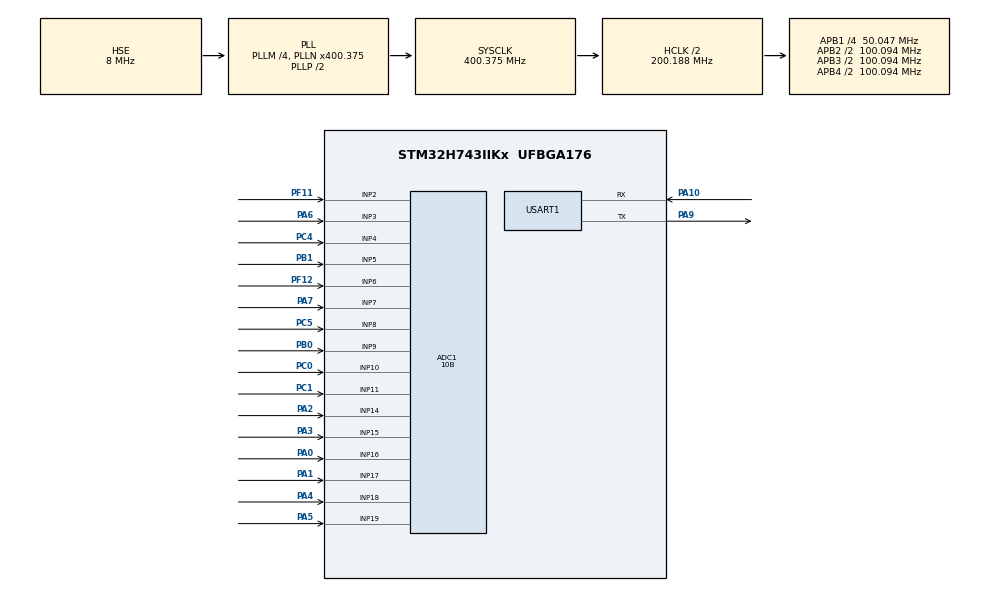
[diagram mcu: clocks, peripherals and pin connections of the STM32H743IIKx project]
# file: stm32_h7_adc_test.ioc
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ADC1.Channel-0\#ChannelRegularConversion=ADC_CHANNEL_2
ADC1.Channel-1\#ChannelRegularConversion=ADC_CHANNEL_3
ADC1.Channel-10\#ChannelRegularConversion=ADC_CHANNEL_14
ADC1.Channel-11\#ChannelRegularConversion=ADC_CHANNEL_15
ADC1.Channel-12\#ChannelRegularConversion=ADC_CHANNEL_16
ADC1.Channel-13\#ChannelRegularConversion=ADC_CHANNEL_17
ADC1.Channel-14\#ChannelRegularConversion=ADC_CHANNEL_18
ADC1.Channel-15\#ChannelRegularConversion=ADC_CHANNEL_19
ADC1.Channel-2\#ChannelRegularConversion=ADC_CHANNEL_4
ADC1.Channel-3\#ChannelRegularConversion=ADC_CHANNEL_5
ADC1.Channel-4\#ChannelRegularConversion=ADC_CHANNEL_6
ADC1.Channel-5\#ChannelRegularConversion=ADC_CHANNEL_7
ADC1.Channel-6\#ChannelRegularConversion=ADC_CHANNEL_8
ADC1.Channel-7\#ChannelRegularConversion=ADC_CHANNEL_9
ADC1.Channel-8\#ChannelRegularConversion=ADC_CHANNEL_10
ADC1.Channel-9\#ChannelRegularConversion=ADC_CHANNEL_11
ADC1.ContinuousConvMode=ENABLE
ADC1.ConversionDataManagement=ADC_CONVERSIONDATA_DMA_CIRCULAR
ADC1.NbrOfConversion=16
ADC1.NbrOfConversionFlag=1
ADC1.OffsetNumber-0\#ChannelRegularConversion=ADC_OFFSET_NONE
ADC1.OffsetNumber-1\#ChannelRegularConversion=ADC_OFFSET_NONE
ADC1.OffsetNumber-10\#ChannelRegularConversion=ADC_OFFSET_NONE
ADC1.OffsetNumber-11\#ChannelRegularConversion=ADC_OFFSET_NONE
ADC1.OffsetNumber-12\#ChannelRegularConversion=ADC_OFFSET_NONE
ADC1.OffsetNumber-13\#ChannelRegularConversion=ADC_OFFSET_NONE
ADC1.OffsetNumber-14\#ChannelRegularConversion=ADC_OFFSET_NONE
ADC1.OffsetNumber-15\#ChannelRegularConversion=ADC_OFFSET_NONE
ADC1.OffsetNumber-2\#ChannelRegularConversion=ADC_OFFSET_NONE
ADC1.OffsetNumber-3\#ChannelRegularConversion=ADC_OFFSET_NONE
ADC1.OffsetNumber-4\#ChannelRegularConversion=ADC_OFFSET_NONE
ADC1.OffsetNumber-5\#ChannelRegularConversion=ADC_OFFSET_NONE
ADC1.OffsetNumber-6\#ChannelRegularConversion=ADC_OFFSET_NONE
ADC1.OffsetNumber-7\#ChannelRegularConversion=ADC_OFFSET_NONE
ADC1.OffsetNumber-8\#ChannelRegularConversion=ADC_OFFSET_NONE
ADC1.OffsetNumber-9\#ChannelRegularConversion=ADC_OFFSET_NONE
ADC1.OffsetSignedSaturation-0\#ChannelRegularConversion=DISABLE
ADC1.Rank-0\#ChannelRegularConversion=1
ADC1.Rank-1\#ChannelRegularConversion=2
ADC1.Rank-10\#ChannelRegularConversion=11
ADC1.Rank-11\#ChannelRegularConversion=12
ADC1.Rank-12\#ChannelRegularConversion=13
ADC1.Rank-13\#ChannelRegularConversion=14
ADC1.Rank-14\#ChannelRegularConversion=15
ADC1.Rank-15\#ChannelRegularConversion=16
ADC1.Rank-2\#ChannelRegularConversion=3
ADC1.Rank-3\#ChannelRegularConversion=4
ADC1.Rank-4\#ChannelRegularConversion=5
ADC1.Rank-5\#ChannelRegularConversion=6
ADC1.Rank-6\#ChannelRegularConversion=7
ADC1.Rank-7\#ChannelRegularConversion=8
ADC1.Rank-8\#ChannelRegularConversion=9
ADC1.Rank-9\#ChannelRegularConversion=10
ADC1.Resolution=ADC_RESOLUTION_10B
ADC1.SamplingTime-0\#ChannelRegularConversion=ADC_SAMPLETIME_810CYCLES_5
ADC1.SamplingTime-1\#ChannelRegularConversion=ADC_SAMPLETIME_810CYCLES_5
ADC1.SamplingTime-10\#ChannelRegularConversion=ADC_SAMPLETIME_810CYCLES_5
ADC1.SamplingTime-11\#ChannelRegularConversion=ADC_SAMPLETIME_810CYCLES_5
ADC1.SamplingTime-12\#ChannelRegularConversion=ADC_SAMPLETIME_810CYCLES_5
ADC1.SamplingTime-13\#ChannelRegularConversion=ADC_SAMPLETIME_810CYCLES_5
ADC1.SamplingTime-14\#ChannelRegularConversion=ADC_SAMPLETIME_810CYCLES_5
ADC1.SamplingTime-15\#ChannelRegularConversion=ADC_SAMPLETIME_810CYCLES_5
ADC1.SamplingTime-2\#ChannelRegularConversion=ADC_SAMPLETIME_810CYCLES_5
ADC1.SamplingTime-3\#ChannelRegularConversion=ADC_SAMPLETIME_810CYCLES_5
ADC1.SamplingTime-4\#ChannelRegularConversion=ADC_SAMPLETIME_810CYCLES_5
ADC1.SamplingTime-5\#ChannelRegularConversion=ADC_SAMPLETIME_810CYCLES_5
ADC1.SamplingTime-6\#ChannelRegularConversion=ADC_SAMPLETIME_810CYCLES_5
ADC1.SamplingTime-7\#ChannelRegularConversion=ADC_SAMPLETIME_810CYCLES_5
ADC1.SamplingTime-8\#ChannelRegularConversion=ADC_SAMPLETIME_810CYCLES_5
ADC1.SamplingTime-9\#ChannelRegularConversion=ADC_SAMPLETIME_810CYCLES_5
ADC1.master=1
Dma.ADC1.0.Direction=DMA_PERIPH_TO_MEMORY
Dma.ADC1.0.EventEnable=DISABLE
Dma.ADC1.0.FIFOMode=DMA_FIFOMODE_DISABLE
Dma.ADC1.0.Instance=DMA1_Stream0
Dma.ADC1.0.MemDataAlignment=DMA_MDATAALIGN_WORD
Dma.ADC1.0.MemInc=DMA_MINC_ENABLE
Dma.ADC1.0.Mode=DMA_CIRCULAR
Dma.ADC1.0.PeriphDataAlignment=DMA_PDATAALIGN_WORD
Dma.ADC1.0.PeriphInc=DMA_PINC_DISABLE
Dma.ADC1.0.Polarity=HAL_DMAMUX_REQ_GEN_RISING
Dma.ADC1.0.Priority=DMA_PRIORITY_LOW
Dma.ADC1.0.RequestNumber=1
Dma.ADC1.0.SignalID=NONE
Dma.ADC1.0.SyncEnable=DISABLE
Dma.ADC1.0.SyncPolarity=HAL_DMAMUX_SYNC_NO_EVENT
Dma.ADC1.0.SyncRequestNumber=1
Dma.ADC1.0.SyncSignalID=NONE
Dma.Request0=ADC1
Mcu.Family=STM32H7
Mcu.Name=STM32H743IIKx
Mcu.Package=UFBGA176
NVIC.DMA1_Stream0_IRQn=true\:0\:0\:false\:false\:true\:false\:true
NVIC.PriorityGroup=NVIC_PRIORITYGROUP_4
PA0.Mode=IN16-Single-Ended
PA0.Signal=ADC1_INP16
PA1.Mode=IN17-Single-Ended
PA1.Signal=ADC1_INP17
PA10.Mode=Asynchronous
PA10.Signal=USART1_RX
PA2.Signal=ADCx_INP14
PA3.Signal=ADCx_INP15
PA4.Signal=ADCx_INP18
PA5.Signal=ADCx_INP19
PA6.Signal=ADCx_INP3
PA7.Signal=ADCx_INP7
PA9.Mode=Asynchronous
PA9.Signal=USART1_TX
PB0.Signal=ADCx_INP9
PB1.Signal=ADCx_INP5
PC0.Signal=ADCx_INP10
PC1.Signal=ADCx_INP11
PC4.Signal=ADCx_INP4
PC5.Signal=ADCx_INP8
PF11.Mode=IN2-Single-Ended
PF11.Signal=ADC1_INP2
PF12.Mode=IN6-Single-Ended
PF12.Signal=ADC1_INP6
PH0-OSC_IN\ (PH0).Mode=HSE-External-Oscillator
PH0-OSC_IN\ (PH0).Signal=RCC_OSC_IN
PH1-OSC_OUT\ (PH1).Mode=HSE-External-Oscillator
PH1-OSC_OUT\ (PH1).Signal=RCC_OSC_OUT
ProjectManager.HeapSize=0x200
ProjectManager.StackSize=0x400
ProjectManager.TargetToolchain=STM32CubeIDE
RCC.ADCFreq_Value=100000000
RCC.APB1Freq_Value=50046875
RCC.APB2Freq_Value=100093750
RCC.APB3Freq_Value=100093750
RCC.APB4Freq_Value=100093750
RCC.CortexFreq_Value=400375000
RCC.D1PPRE=RCC_APB3_DIV2
RCC.D2PPRE1=RCC_APB1_DIV4
RCC.D2PPRE2=RCC_APB2_DIV2
RCC.D3PPRE=RCC_APB4_DIV2
RCC.DIVM1=4
RCC.DIVM2=4
RCC.DIVM3=4
RCC.DIVN1=400
RCC.DIVN2=100
RCC.DIVN3=44
RCC.DIVR3=4
RCC.HCLKFreq_Value=200187500
RCC.HPRE=RCC_HCLK_DIV2
RCC.HSE_VALUE=8000000
RCC.PLLFRACN=3072
RCC.PLLSourceVirtual=RCC_PLLSOURCE_HSE
RCC.SYSCLKFreq_VALUE=400375000
RCC.SYSCLKSource=RCC_SYSCLKSOURCE_PLLCLK
RCC.USBFreq_Value=400375000
SH.ADCx_INP10.0=ADC1_INP10,IN10-Single-Ended
SH.ADCx_INP11.0=ADC1_INP11,IN11-Single-Ended
SH.ADCx_INP14.0=ADC1_INP14,IN14-Single-Ended
SH.ADCx_INP15.0=ADC1_INP15,IN15-Single-Ended
SH.ADCx_INP18.0=ADC1_INP18,IN18-Single-Ended
SH.ADCx_INP19.0=ADC1_INP19,IN19-Single-Ended
SH.ADCx_INP3.0=ADC1_INP3,IN3-Single-Ended
SH.ADCx_INP4.0=ADC1_INP4,IN4-Single-Ended
SH.ADCx_INP5.0=ADC1_INP5,IN5-Single-Ended
SH.ADCx_INP7.0=ADC1_INP7,IN7-Single-Ended
SH.ADCx_INP8.0=ADC1_INP8,IN8-Single-Ended
SH.ADCx_INP9.0=ADC1_INP9,IN9-Single-Ended
USART1.VirtualMode-Asynchronous=VM_ASYNC
board=custom

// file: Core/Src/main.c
/* USER CODE BEGIN Header */
/**
  ******************************************************************************
  * @file           : main.c
  * @brief          : Main program body
  ******************************************************************************
  * @attention
  *
  * <h2><center>&copy; Copyright (c) 2021 STMicroelectronics.
  * All rights reserved.</center></h2>
  *
  * This software component is licensed by ST under BSD 3-Clause license,
  * the "License"; You may not use this file except in compliance with the
  * License. You may obtain a copy of the License at:
  *                        opensource.org/licenses/BSD-3-Clause
  *
  ******************************************************************************
  */
/* USER CODE END Header */
#include "main.h"

ADC_HandleTypeDef hadc1;
DMA_HandleTypeDef hdma_adc1;

UART_HandleTypeDef huart1;

void SystemClock_Config(void);
static void MX_GPIO_Init(void);
static void MX_DMA_Init(void);
static void MX_USART1_UART_Init(void);
static void MX_ADC1_Init(void);
/* USER CODE BEGIN PFP */
int _write(int file, char *p, int len) {
	for (int i = 0; i < len; i++) {
		HAL_UART_Transmit(&huart1, (uint8_t*) (p + i), 1, 0xFFFF);
		HAL_Delay(1);
	}
	return len;
}

/* USER CODE END PFP */

/* USER CODE BEGIN 0 */

#define ADC1_NUM 16
#define ADC3_NUM 1
uint32_t ADC1Result[ADC1_NUM];
uint32_t ADC3Result[ADC3_NUM];

/* USER CODE END 0 */

int main(void)
{

  /* MCU Configuration--------------------------------------------------------*/

  /* Reset of all peripherals, Initializes the Flash interface and the Systick. */
  HAL_Init();

  /* Configure the system clock */
  SystemClock_Config();

  /* Initialize all configured peripherals */
  MX_GPIO_Init();
  MX_DMA_Init();
  MX_USART1_UART_Init();
  MX_ADC1_Init();
  /* USER CODE BEGIN 2 */
  // printf("STM32 H7 START...\r\n");

  int count = 0;

  HAL_ADC_Start_DMA(&hadc1, (uint32_t *)ADC1Result, ADC1_NUM);

  /* USER CODE END 2 */

  /* Infinite loop */
  /* USER CODE BEGIN WHILE */
  while (1)
  {
	  count += 1;
	  printf("%ld,%ld,%ld,%ld,%ld,%ld,%ld,%ld,%ld,%ld,%ld,%ld,%ld,%ld,%ld,%ld\r\n",
			  ADC1Result[0], ADC1Result[1], ADC1Result[2], ADC1Result[3],ADC1Result[4], ADC1Result[5], ADC1Result[6], ADC1Result[7],
			  ADC1Result[8+0], ADC1Result[8+1], ADC1Result[8+2], ADC1Result[8+3],ADC1Result[8+4], ADC1Result[8+5], ADC1Result[8+6], ADC1Result[8+7]);
	  HAL_Delay(100);
    /* USER CODE END WHILE */

  }
}

void SystemClock_Config(void)
{
  RCC_OscInitTypeDef RCC_OscInitStruct = {0};
  RCC_ClkInitTypeDef RCC_ClkInitStruct = {0};
  RCC_PeriphCLKInitTypeDef PeriphClkInitStruct = {0};

  /** Supply configuration update enable
  */
  HAL_PWREx_ConfigSupply(PWR_LDO_SUPPLY);
  /** Configure the main internal regulator output voltage
  */
  __HAL_PWR_VOLTAGESCALING_CONFIG(PWR_REGULATOR_VOLTAGE_SCALE0);

  while(!__HAL_PWR_GET_FLAG(PWR_FLAG_VOSRDY)) {}
  /** Macro to configure the PLL clock source
  */
  __HAL_RCC_PLL_PLLSOURCE_CONFIG(RCC_PLLSOURCE_HSE);
  /** Initializes the RCC Oscillators according to the specified parameters
  * in the RCC_OscInitTypeDef structure.
  */
  RCC_OscInitStruct.OscillatorType = RCC_OSCILLATORTYPE_HSE;
  RCC_OscInitStruct.HSEState = RCC_HSE_ON;
  RCC_OscInitStruct.PLL.PLLState = RCC_PLL_ON;
  RCC_OscInitStruct.PLL.PLLSource = RCC_PLLSOURCE_HSE;
  RCC_OscInitStruct.PLL.PLLM = 4;
  RCC_OscInitStruct.PLL.PLLN = 400;
  RCC_OscInitStruct.PLL.PLLP = 2;
  RCC_OscInitStruct.PLL.PLLQ = 2;
  RCC_OscInitStruct.PLL.PLLR = 2;
  RCC_OscInitStruct.PLL.PLLRGE = RCC_PLL1VCIRANGE_1;
  RCC_OscInitStruct.PLL.PLLVCOSEL = RCC_PLL1VCOWIDE;
  RCC_OscInitStruct.PLL.PLLFRACN = 3072;
  if (HAL_RCC_OscConfig(&RCC_OscInitStruct) != HAL_OK)
  {
    Error_Handler();
  }
  /** Initializes the CPU, AHB and APB buses clocks
  */
  RCC_ClkInitStruct.ClockType = RCC_CLOCKTYPE_HCLK|RCC_CLOCKTYPE_SYSCLK
                              |RCC_CLOCKTYPE_PCLK1|RCC_CLOCKTYPE_PCLK2
                              |RCC_CLOCKTYPE_D3PCLK1|RCC_CLOCKTYPE_D1PCLK1;
  RCC_ClkInitStruct.SYSCLKSource = RCC_SYSCLKSOURCE_PLLCLK;
  RCC_ClkInitStruct.SYSCLKDivider = RCC_SYSCLK_DIV1;
  RCC_ClkInitStruct.AHBCLKDivider = RCC_HCLK_DIV2;
  RCC_ClkInitStruct.APB3CLKDivider = RCC_APB3_DIV2;
  RCC_ClkInitStruct.APB1CLKDivider = RCC_APB1_DIV4;
  RCC_ClkInitStruct.APB2CLKDivider = RCC_APB2_DIV2;
  RCC_ClkInitStruct.APB4CLKDivider = RCC_APB4_DIV2;

  if (HAL_RCC_ClockConfig(&RCC_ClkInitStruct, FLASH_LATENCY_2) != HAL_OK)
  {
    Error_Handler();
  }
  PeriphClkInitStruct.PeriphClockSelection = RCC_PERIPHCLK_USART1|RCC_PERIPHCLK_ADC;
  PeriphClkInitStruct.PLL2.PLL2M = 4;
  PeriphClkInitStruct.PLL2.PLL2N = 100;
  PeriphClkInitStruct.PLL2.PLL2P = 2;
  PeriphClkInitStruct.PLL2.PLL2Q = 2;
  PeriphClkInitStruct.PLL2.PLL2R = 2;
  PeriphClkInitStruct.PLL2.PLL2RGE = RCC_PLL2VCIRANGE_1;
  PeriphClkInitStruct.PLL2.PLL2VCOSEL = RCC_PLL2VCOWIDE;
  PeriphClkInitStruct.PLL2.PLL2FRACN = 0;
  PeriphClkInitStruct.Usart16ClockSelection = RCC_USART16CLKSOURCE_D2PCLK2;
  PeriphClkInitStruct.AdcClockSelection = RCC_ADCCLKSOURCE_PLL2;
  if (HAL_RCCEx_PeriphCLKConfig(&PeriphClkInitStruct) != HAL_OK)
  {
    Error_Handler();
  }
}

static void MX_ADC1_Init(void)
{

  ADC_MultiModeTypeDef multimode = {0};
  ADC_ChannelConfTypeDef sConfig = {0};

  /** Common config
  */
  hadc1.Instance = ADC1;
  hadc1.Init.ClockPrescaler = ADC_CLOCK_ASYNC_DIV1;
  hadc1.Init.Resolution = ADC_RESOLUTION_10B;
  hadc1.Init.ScanConvMode = ADC_SCAN_ENABLE;
  hadc1.Init.EOCSelection = ADC_EOC_SINGLE_CONV;
  hadc1.Init.LowPowerAutoWait = DISABLE;
  hadc1.Init.ContinuousConvMode = ENABLE;
  hadc1.Init.NbrOfConversion = 16;
  hadc1.Init.DiscontinuousConvMode = DISABLE;
  hadc1.Init.ExternalTrigConv = ADC_SOFTWARE_START;
  hadc1.Init.ExternalTrigConvEdge = ADC_EXTERNALTRIGCONVEDGE_NONE;
  hadc1.Init.ConversionDataManagement = ADC_CONVERSIONDATA_DMA_CIRCULAR;
  hadc1.Init.Overrun = ADC_OVR_DATA_PRESERVED;
  hadc1.Init.LeftBitShift = ADC_LEFTBITSHIFT_NONE;
  hadc1.Init.OversamplingMode = DISABLE;
  if (HAL_ADC_Init(&hadc1) != HAL_OK)
  {
    Error_Handler();
  }
  /** Configure the ADC multi-mode
  */
  multimode.Mode = ADC_MODE_INDEPENDENT;
  if (HAL_ADCEx_MultiModeConfigChannel(&hadc1, &multimode) != HAL_OK)
  {
    Error_Handler();
  }
  /** Configure Regular Channel
  */
  sConfig.Channel = ADC_CHANNEL_2;
  sConfig.Rank = ADC_REGULAR_RANK_1;
  sConfig.SamplingTime = ADC_SAMPLETIME_810CYCLES_5;
  sConfig.SingleDiff = ADC_SINGLE_ENDED;
  sConfig.OffsetNumber = ADC_OFFSET_NONE;
  sConfig.Offset = 0;
  sConfig.OffsetSignedSaturation = DISABLE;
  if (HAL_ADC_ConfigChannel(&hadc1, &sConfig) != HAL_OK)
  {
    Error_Handler();
  }
  /** Configure Regular Channel
  */
  sConfig.Channel = ADC_CHANNEL_3;
  sConfig.Rank = ADC_REGULAR_RANK_2;
  if (HAL_ADC_ConfigChannel(&hadc1, &sConfig) != HAL_OK)
  {
    Error_Handler();
  }
  /** Configure Regular Channel
  */
  sConfig.Channel = ADC_CHANNEL_4;
  sConfig.Rank = ADC_REGULAR_RANK_3;
  if (HAL_ADC_ConfigChannel(&hadc1, &sConfig) != HAL_OK)
  {
    Error_Handler();
  }
  /** Configure Regular Channel
  */
  sConfig.Channel = ADC_CHANNEL_5;
  sConfig.Rank = ADC_REGULAR_RANK_4;
  if (HAL_ADC_ConfigChannel(&hadc1, &sConfig) != HAL_OK)
  {
    Error_Handler();
  }
  /** Configure Regular Channel
  */
  sConfig.Channel = ADC_CHANNEL_6;
  sConfig.Rank = ADC_REGULAR_RANK_5;
  if (HAL_ADC_ConfigChannel(&hadc1, &sConfig) != HAL_OK)
  {
    Error_Handler();
  }
  /** Configure Regular Channel
  */
  sConfig.Channel = ADC_CHANNEL_7;
  sConfig.Rank = ADC_REGULAR_RANK_6;
  if (HAL_ADC_ConfigChannel(&hadc1, &sConfig) != HAL_OK)
  {
    Error_Handler();
  }
  /** Configure Regular Channel
  */
  sConfig.Channel = ADC_CHANNEL_8;
  sConfig.Rank = ADC_REGULAR_RANK_7;
  if (HAL_ADC_ConfigChannel(&hadc1, &sConfig) != HAL_OK)
  {
    Error_Handler();
  }
  /** Configure Regular Channel
  */
  sConfig.Channel = ADC_CHANNEL_9;
  sConfig.Rank = ADC_REGULAR_RANK_8;
  if (HAL_ADC_ConfigChannel(&hadc1, &sConfig) != HAL_OK)
  {
    Error_Handler();
  }
  /** Configure Regular Channel
  */
  sConfig.Channel = ADC_CHANNEL_10;
  sConfig.Rank = ADC_REGULAR_RANK_9;
  if (HAL_ADC_ConfigChannel(&hadc1, &sConfig) != HAL_OK)
  {
    Error_Handler();
  }
  /** Configure Regular Channel
  */
  sConfig.Channel = ADC_CHANNEL_11;
  sConfig.Rank = ADC_REGULAR_RANK_10;
  if (HAL_ADC_ConfigChannel(&hadc1, &sConfig) != HAL_OK)
  {
    Error_Handler();
  }
  /** Configure Regular Channel
  */
  sConfig.Channel = ADC_CHANNEL_14;
  sConfig.Rank = ADC_REGULAR_RANK_11;
  if (HAL_ADC_ConfigChannel(&hadc1, &sConfig) != HAL_OK)
  {
    Error_Handler();
  }
  /** Configure Regular Channel
  */
  sConfig.Channel = ADC_CHANNEL_15;
  sConfig.Rank = ADC_REGULAR_RANK_12;
  if (HAL_ADC_ConfigChannel(&hadc1, &sConfig) != HAL_OK)
  {
    Error_Handler();
  }
  /** Configure Regular Channel
  */
  sConfig.Channel = ADC_CHANNEL_16;
  sConfig.Rank = ADC_REGULAR_RANK_13;
  if (HAL_ADC_ConfigChannel(&hadc1, &sConfig) != HAL_OK)
  {
    Error_Handler();
  }
  /** Configure Regular Channel
  */
  sConfig.Channel = ADC_CHANNEL_17;
  sConfig.Rank = ADC_REGULAR_RANK_14;
  if (HAL_ADC_ConfigChannel(&hadc1, &sConfig) != HAL_OK)
  {
    Error_Handler();
  }
  /** Configure Regular Channel
  */
  sConfig.Channel = ADC_CHANNEL_18;
  sConfig.Rank = ADC_REGULAR_RANK_15;
  if (HAL_ADC_ConfigChannel(&hadc1, &sConfig) != HAL_OK)
  {
    Error_Handler();
  }
  /** Configure Regular Channel
  */
  sConfig.Channel = ADC_CHANNEL_19;
  sConfig.Rank = ADC_REGULAR_RANK_16;
  if (HAL_ADC_ConfigChannel(&hadc1, &sConfig) != HAL_OK)
  {
    Error_Handler();
  }

}

static void MX_USART1_UART_Init(void)
{

  huart1.Instance = USART1;
  huart1.Init.BaudRate = 115200;
  huart1.Init.WordLength = UART_WORDLENGTH_8B;
  huart1.Init.StopBits = UART_STOPBITS_1;
  huart1.Init.Parity = UART_PARITY_NONE;
  huart1.Init.Mode = UART_MODE_TX_RX;
  huart1.Init.HwFlowCtl = UART_HWCONTROL_NONE;
  huart1.Init.OverSampling = UART_OVERSAMPLING_16;
  huart1.Init.OneBitSampling = UART_ONE_BIT_SAMPLE_DISABLE;
  huart1.Init.ClockPrescaler = UART_PRESCALER_DIV1;
  huart1.AdvancedInit.AdvFeatureInit = UART_ADVFEATURE_NO_INIT;
  if (HAL_UART_Init(&huart1) != HAL_OK)
  {
    Error_Handler();
  }
  if (HAL_UARTEx_SetTxFifoThreshold(&huart1, UART_TXFIFO_THRESHOLD_1_8) != HAL_OK)
  {
    Error_Handler();
  }
  if (HAL_UARTEx_SetRxFifoThreshold(&huart1, UART_RXFIFO_THRESHOLD_1_8) != HAL_OK)
  {
    Error_Handler();
  }
  if (HAL_UARTEx_DisableFifoMode(&huart1) != HAL_OK)
  {
    Error_Handler();
  }

}

static void MX_DMA_Init(void)
{

  /* DMA controller clock enable */
  __HAL_RCC_DMA1_CLK_ENABLE();

  /* DMA interrupt init */
  /* DMA1_Stream0_IRQn interrupt configuration */
  HAL_NVIC_SetPriority(DMA1_Stream0_IRQn, 0, 0);
  HAL_NVIC_EnableIRQ(DMA1_Stream0_IRQn);

}

static void MX_GPIO_Init(void)
{

  /* GPIO Ports Clock Enable */
  __HAL_RCC_GPIOA_CLK_ENABLE();
  __HAL_RCC_GPIOH_CLK_ENABLE();
  __HAL_RCC_GPIOC_CLK_ENABLE();
  __HAL_RCC_GPIOF_CLK_ENABLE();
  __HAL_RCC_GPIOB_CLK_ENABLE();

}

void Error_Handler(void)
{
}

/************************ (C) COPYRIGHT STMicroelectronics *****END OF FILE****/
